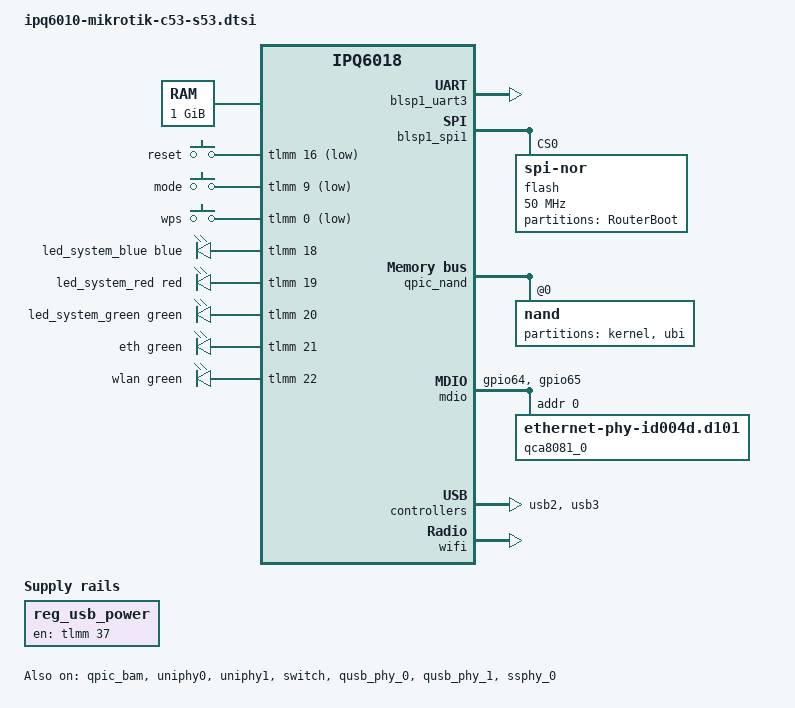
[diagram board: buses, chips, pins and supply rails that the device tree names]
// SPDX-License-Identifier: GPL-2.0-or-later OR MIT

#include "ipq6018.dtsi"
#include "ipq6018-cp-cpu.dtsi"
#include "ipq6018-ess.dtsi"
#include <dt-bindings/gpio/gpio.h>
#include <dt-bindings/input/input.h>
#include <dt-bindings/leds/common.h>

/ {
	/*
	 * Normally injected into the DTB by the QSDK U-Boot; RouterBOOT does
	 * not do this. Without it the CPR driver hits BUG_ON() in
	 * read_ipq_soc_version_major().
	 */
	soc_version_major = <1>;

	aliases {
		serial0 = &blsp1_uart3;
		led-boot = &led_system_green;
		led-running = &led_system_green;
		led-failsafe = &led_system_red;
		led-upgrade = &led_system_blue;
	};

	chosen {
		stdout-path = "serial0:115200n8";
		/* RouterBOOT passes no command line, so provide a full one. */
		bootargs = "earlycon console=ttyMSM0,115200n8";
	};

	/* RouterBOOT passes no memory node either. */
	memory@40000000 {
		device_type = "memory";
		reg = <0x0 0x40000000 0x0 0x40000000>;
	};

	keys {
		compatible = "gpio-keys";

		reset {
			label = "reset";
			linux,code = <KEY_RESTART>;
			gpios = <&tlmm 16 GPIO_ACTIVE_LOW>;
		};

		/*
		 * BTN_0 rather than KEY_MODE, which gpio_button_hotplug does not
		 * know; an unsupported code makes the whole node fail to probe,
		 * taking the reset button with it.
		 */
		mode {
			label = "mode";
			linux,code = <BTN_0>;
			gpios = <&tlmm 9 GPIO_ACTIVE_LOW>;
		};

		wps {
			label = "wps";
			linux,code = <KEY_WPS_BUTTON>;
			gpios = <&tlmm 0 GPIO_ACTIVE_LOW>;
		};
	};

	board_leds: leds {
		compatible = "gpio-leds";

		led_system_blue: system-blue {
			color = <LED_COLOR_ID_BLUE>;
			function = LED_FUNCTION_STATUS;
			gpios = <&tlmm 18 GPIO_ACTIVE_HIGH>;
		};

		led_system_red: system-red {
			color = <LED_COLOR_ID_RED>;
			function = LED_FUNCTION_STATUS;
			gpios = <&tlmm 19 GPIO_ACTIVE_HIGH>;
		};

		led_system_green: system-green {
			color = <LED_COLOR_ID_GREEN>;
			function = LED_FUNCTION_STATUS;
			gpios = <&tlmm 20 GPIO_ACTIVE_HIGH>;
		};

		eth {
			color = <LED_COLOR_ID_GREEN>;
			function = LED_FUNCTION_LAN;
			gpios = <&tlmm 21 GPIO_ACTIVE_HIGH>;
		};

		wlan {
			color = <LED_COLOR_ID_GREEN>;
			function = LED_FUNCTION_WLAN;
			gpios = <&tlmm 22 GPIO_ACTIVE_HIGH>;
			linux,default-trigger = "phy0radio";
		};
	};

	reg_usb_power: regulator-usb-power {
		compatible = "regulator-fixed";
		regulator-name = "usb-power";
		gpios = <&tlmm 37 GPIO_ACTIVE_LOW>;
		enable-active-high;
		regulator-boot-on;
		regulator-always-on;
	};
};

&blsp1_uart3 {
	pinctrl-0 = <&serial_3_pins>;
	pinctrl-names = "default";
	status = "okay";
};

&blsp1_spi1 {
	pinctrl-names = "default";
	status = "okay";

	flash@0 {
		compatible = "jedec,spi-nor";
		reg = <0>;
		spi-max-frequency = <50000000>;

		partitions {
			compatible = "fixed-partitions";
			#address-cells = <1>;
			#size-cells = <1>;

			/*
			 * Declared as a RouterBoot container so rb_hardconfig
			 * exports /sys/firmware/mikrotik/hard_config/*, which
			 * carries the ath11k calibration data and the base MAC.
			 * Sub-partitions are sized by the driver at runtime.
			 */
			/*
			 * Not read-only as a whole, so that soft_config can be
			 * written: MTD only ever masks flags downwards, so a
			 * read-only parent forces every child read-only too.
			 *
			 * soft_config carries RouterBOOT's boot settings, and being
			 * able to write them is what allows etherboot to be triggered
			 * over the network instead of with the reset button. It also
			 * needs routerbootpart to grow the partition to a full erase
			 * block, otherwise MTD refuses writes regardless.
			 *
			 * The trade-off is that the bootloader itself, which lives in
			 * this partition and has no node of its own, is no longer
			 * write protected at the MTD level. Nothing in OpenWrt writes
			 * there, and MikroTik's own firmware keeps it writable for the
			 * same reason, but a stray write to this mtd would take out
			 * the recovery path. hard_config, with the MAC addresses and
			 * the WLAN calibration data, stays protected.
			 */
			partition@2c0000 {
				label = "RouterBoot";
				reg = <0x2c0000 0x80000>;
				compatible = "mikrotik,routerboot-partitions";
				#address-cells = <1>;
				#size-cells = <1>;

				hard_config {
					read-only;

					nvmem-layout {
						compatible = "mikrotik,routerboot-nvmem";

						macaddr_hard: base-mac-address {
							#nvmem-cell-cells = <1>;
						};
					};
				};

				soft_config {
				};
			};
		};
	};
};

&qpic_bam {
	status = "okay";
};

&qpic_nand {
	status = "okay";

	nand@0 {
		reg = <0>;
		nand-ecc-strength = <4>;
		nand-ecc-step-size = <512>;
		nand-bus-width = <8>;

		partitions {
			compatible = "fixed-partitions";
			#address-cells = <1>;
			#size-cells = <1>;

			partition@0 {
				label = "kernel";
				reg = <0x0000000 0x0800000>;
			};

			partition@800000 {
				label = "ubi";
				reg = <0x0800000 0x7800000>;
			};
		};
	};
};

&tlmm {
	mdio_pins: mdio-pins {
		mdc {
			pins = "gpio64";
			function = "mdc";
			drive-strength = <8>;
			bias-pull-up;
		};

		mdio {
			pins = "gpio65";
			function = "mdio";
			drive-strength = <8>;
			bias-pull-up;
		};
	};
};

&mdio {
	status = "okay";
	pinctrl-0 = <&mdio_pins>;
	pinctrl-names = "default";
	reset-delay-us = <10000>;
	reset-post-delay-us = <50000>;

	qca8081_0: ethernet-phy@0 {
		compatible = "ethernet-phy-id004d.d101";
		reg = <0>;
	};
};

&uniphy0 {
	status = "okay";
};

&uniphy1 {
	status = "okay";
};

&switch {
	status = "okay";

	ports {
		#address-cells = <1>;
		#size-cells = <0>;

		port@0 {
			reg = <0>;
			ethernet = <&edma>;
			phy-mode = "internal";

			fixed-link {
				speed = <1000>;
				full-duplex;
			};
		};

		switch_port1: port@1 {
			reg = <1>;
			phy-handle = <&qca8075_0>;
			phy-mode = "psgmii";
			pcs-handle = <&uniphy0 0>;
		};

		switch_port2: port@2 {
			reg = <2>;
			phy-handle = <&qca8075_1>;
			phy-mode = "psgmii";
			pcs-handle = <&uniphy0 1>;
		};

		switch_port3: port@3 {
			reg = <3>;
			phy-handle = <&qca8075_2>;
			phy-mode = "psgmii";
			pcs-handle = <&uniphy0 2>;
		};

		switch_port4: port@4 {
			reg = <4>;
			phy-handle = <&qca8075_3>;
			phy-mode = "psgmii";
			pcs-handle = <&uniphy0 3>;
		};

		switch_port5: port@5 {
			reg = <5>;
			phy-handle = <&qca8081_0>;
			phy-mode = "2500base-x";
			pcs-handle = <&uniphy1 0>;
		};
	};
};

&edma {
	status = "okay";
};

&qusb_phy_0 {
	status = "okay";
};

&qusb_phy_1 {
	status = "okay";
};

&ssphy_0 {
	status = "okay";
};

&usb2 {
	status = "okay";
};

&usb3 {
	status = "okay";
};

/*
 * Enabling PCIe appeared to stop the Ethernet transmit path on the Chateau:
 * frames were counted by the switch port but never left the PHY.
 *
 * That observation rests on a single boot per variant, and the Chateau's
 * PSGMII calibration fails intermittently in roughly one boot out of three
 * with a very similar symptom, so the bisect does not actually carry. PCIe
 * stays off because neither product uses it for supported hardware, but the
 * question should be revisited once the calibration problem is understood.
 */
&pcie_phy {
	status = "disabled";
};

&pcie0 {
	status = "disabled";
};

/*
 * The watchdog is armed but never fed during boot, which resets the board
 * after roughly 30 seconds.
 */
&{/soc@0/watchdog@b017000} {
	status = "disabled";
};

&wifi {
	status = "okay";

	/*
	 * Without this the driver advertises a 6 GHz band the IPQ6018 does not
	 * have. cfg80211 then finds no regulatory rules for it and the channel
	 * list update fails for the whole PHY, taking 5 GHz down with it.
	 */
	ieee80211-freq-limit = <2402000 5835000>;
};
